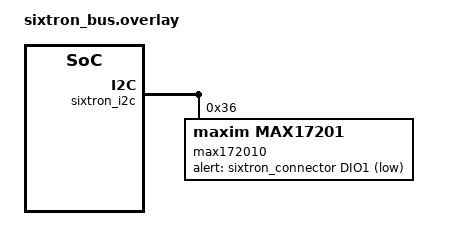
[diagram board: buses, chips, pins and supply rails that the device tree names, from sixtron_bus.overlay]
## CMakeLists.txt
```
# Copyright (c) 2024 CATIE
# SPDX-License-Identifier: Apache-2.0

cmake_minimum_required(VERSION 3.20.0)
find_package(Zephyr REQUIRED HINTS $ENV{ZEPHYR_BASE})
project(max17201)

FILE(GLOB app_sources src/main.c)
target_sources(app PRIVATE ${app_sources})
```

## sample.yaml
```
sample:
  name: MAX17201 fuel gauge sample
tests:
  sample.default:
    tags: fuel_gauge
    integration_platforms:
      - zest_core_stm32l4a6rg
    depends_on:
      - i2c
    extra_args: "DTC_OVERLAY_FILE=sixtron_bus.overlay"
```

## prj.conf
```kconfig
CONFIG_STDOUT_CONSOLE=y
CONFIG_FUEL_GAUGE=y

CONFIG_LOG=y
CONFIG_FUEL_GAUGE_LOG_LEVEL_INF=y
```

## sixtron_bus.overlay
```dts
/*
 * Copyright (c) 2024 CATIE
 *
 * SPDX-License-Identifier: Apache-2.0
 */

#include <zephyr/dt-bindings/gpio/sixtron-header.h>

&sixtron_i2c {
	status = "okay";

	max172010: max17201@36 {
		compatible = "maxim,max17201";
		reg = <0x36>;
		sbs = <0x0b>;
		nb-cell = <1>;
		rshunt = <20>;
		capacity = <800>;
		empty-voltage = <3050>;
		voltage-thresholds = <3600 4250>;
		current-thresholds = <(-800) 800>;
		temperature-thresholds = <2732 3181>;
		external-thermistor1;
		external-thermistor2;
		alert-gpios = <&sixtron_connector DIO1 (GPIO_ACTIVE_LOW | GPIO_OPEN_DRAIN)>;
	};
};
```

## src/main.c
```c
/*
 * Copyright (c) 2024, CATIE
 * SPDX-License-Identifier: Apache-2.0
 */

#include <zephyr/kernel.h>
#include <zephyr/device.h>
#include <zephyr/drivers/fuel_gauge.h>
#include <zephyr/drivers/gpio.h>

#include "max17201.h"

static const struct device *fg_dev = DEVICE_DT_GET(DT_NODELABEL(max172010));
static const struct gpio_dt_spec alert_gpio =
	GPIO_DT_SPEC_GET(DT_NODELABEL(max172010), alert_gpios);

struct gpio_callback gpio_cb;
struct k_work gpio_work;

struct k_work current_min_work;
struct k_work current_max_work;
struct k_work soc_percent_work;
struct k_work voltage_min_work;
struct k_work voltage_max_work;
struct k_work temp_min_work;
struct k_work temp_max_work;

static void current_min_worker(struct k_work *p_work)
{
	ARG_UNUSED(p_work);

	printk("ALERT: [I MIN]\n");
	return;
}

static void current_max_worker(struct k_work *p_work)
{
	ARG_UNUSED(p_work);

	printk("ALERT: [I MAX]\n");
	return;
}

static void soc_percent_worker(struct k_work *p_work)
{
	ARG_UNUSED(p_work);

	printk("IRQ: [SOC 1%%]\n");
	return;
}

static void voltage_min_worker(struct k_work *p_work)
{
	ARG_UNUSED(p_work);

	printk("ALERT: [V MIN]\n");
	return;
}

static void voltage_max_worker(struct k_work *p_work)
{
	ARG_UNUSED(p_work);

	printk("ALERT: [V MAX]\n");
	return;
}

static void temp_min_worker(struct k_work *p_work)
{
	ARG_UNUSED(p_work);

	printk("ALERT: [T MIN]\n");
	return;
}

static void temp_max_worker(struct k_work *p_work)
{
	ARG_UNUSED(p_work);

	printk("ALERT: [T MAX]\n");
	return;
}

static void gpio_worker(struct k_work *p_work)
{
	ARG_UNUSED(p_work);

	union fuel_gauge_prop_val value;
	int err;

	err = fuel_gauge_get_prop(fg_dev, FUEL_GAUGE_STATUS, &value);
	if (err < 0) {
		printk("IRQ GPIO worker read FLAGS error\n");
		return;
	}

	if (value.fg_status & MAX1720X_FLAGS_ALERT_CURR_MIN) {
		value.fg_status &= ~MAX1720X_FLAGS_ALERT_CURR_MIN;
		k_work_submit(&current_min_work);
	}
	if (value.fg_status & MAX1720X_FLAGS_ALERT_CURR_MAX) {
		value.fg_status &= ~MAX1720X_FLAGS_ALERT_CURR_MAX;
		k_work_submit(&current_max_work);
	}
	if (value.fg_status & MAX1720X_FLAGS_ALERT_SOC_PERCENT) {
		value.fg_status &= ~MAX1720X_FLAGS_ALERT_SOC_PERCENT;
		k_work_submit(&soc_percent_work);
	}
	if (value.fg_status & MAX1720X_FLAGS_ALERT_VOLT_MIN) {
		value.fg_status &= ~MAX1720X_FLAGS_ALERT_VOLT_MIN;
		k_work_submit(&voltage_min_work);
	}
	if (value.fg_status & MAX1720X_FLAGS_ALERT_VOLT_MAX) {
		value.fg_status &= ~MAX1720X_FLAGS_ALERT_VOLT_MAX;
		k_work_submit(&voltage_max_work);
	}
	if (value.fg_status & MAX1720X_FLAGS_ALERT_TEMP_MIN) {
		value.fg_status &= ~MAX1720X_FLAGS_ALERT_TEMP_MIN;
		k_work_submit(&temp_min_work);
	}
	if (value.fg_status & MAX1720X_FLAGS_ALERT_TEMP_MAX) {
		value.fg_status &= ~MAX1720X_FLAGS_ALERT_TEMP_MAX;
		k_work_submit(&temp_max_work);
	}

	err = fuel_gauge_set_prop(fg_dev, FUEL_GAUGE_STATUS, value);
	if (err < 0) {
		printk("Alert GPIO worker read FLAGS error\n");
		return;
	}
}

static void gpio_callback_handler(const struct device *p_port, struct gpio_callback *p_cb,
				  gpio_port_pins_t pins)
{
	ARG_UNUSED(p_port);
	ARG_UNUSED(p_cb);
	ARG_UNUSED(pins);

	k_work_submit(&gpio_work); /* Using work queue to exit isr context */
}

int main(void)
{
	union fuel_gauge_prop_val value;
	int err;

	if (!device_is_ready(fg_dev)) {
		printk("Device %s is not ready\n", fg_dev->name);
		return 1;
	}

	if (!gpio_is_ready_dt(&alert_gpio)) {
		printk("GPIO not ready!!");
		return -ENODEV;
	}

	printk("GPIO configure\n");
	err = gpio_pin_configure_dt(&alert_gpio, GPIO_INPUT);
	if (err < 0) {
		printk("Failed to configure GPIO!!");
		return err;
	}

	err = gpio_pin_interrupt_configure_dt(&alert_gpio, GPIO_INT_EDGE_FALLING);
	if (err < 0) {
		printk("Failed to configure interrupt!!");
		return err;
	}

	gpio_init_callback(&gpio_cb, gpio_callback_handler, BIT(alert_gpio.pin));

	err = gpio_add_callback_dt(&alert_gpio, &gpio_cb);
	if (err < 0) {
		printk("Failed to add GPIO callback!!");
		return err;
	}

	gpio_work.handler = gpio_worker;
	current_min_work.handler = current_min_worker;
	current_max_work.handler = current_max_worker;
	soc_percent_work.handler = soc_percent_worker;
	voltage_min_work.handler = voltage_min_worker;
	voltage_max_work.handler = voltage_max_worker;
	temp_min_work.handler = temp_min_worker;
	temp_max_work.handler = temp_max_worker;

	/* Setup alert for State Of Charge thresholds value (0xFF00 = no thresholds)*/
	value.flags = 0xFF00U; /* [Mx(8 bits) | Mn(8 bits)]  with 1% LSB resolution */
	err = fuel_gauge_set_prop(fg_dev, MAX1720X_FUEL_GAUGE_SOC_THRESHOLDS, value);
	if (err < 0) {
		return err;
	}

	/* Enable Alert irq */
	value.flags = MAX1720X_ALERT_ENABLE_THRESHOLDS | MAX1720X_ALERT_ENABLE_SOC_PERCENT;
	err = fuel_gauge_set_prop(fg_dev, MAX1720X_FUEL_GAUGE_ALERT_ENABLE, value);
	if (err < 0) {
		return err;
	}

	/* Clear Alert Flags */
	value.flags = 0x0000U;
	err = fuel_gauge_set_prop(fg_dev, FUEL_GAUGE_STATUS, value);
	if (err < 0) {
		return err;
	}

	while (1) {
		/* Example for fuel gauge driver */
		printk("----------------\n");
		err = fuel_gauge_get_prop(fg_dev, FUEL_GAUGE_AVG_CURRENT_UA, &value);
		if (err < 0) {
			return err;
		}
		printk("Avg Current: %d uA\n", value.avg_current_ua);
		err = fuel_gauge_get_prop(fg_dev, FUEL_GAUGE_CURRENT_UA, &value);
		if (err < 0) {
			return err;
		}
		printk("Current: %d uA\n", value.current_ua);
		err = fuel_gauge_get_prop(fg_dev, FUEL_GAUGE_CYCLE_COUNT, &value);
		if (err < 0) {
			return err;
		}
		printk("Cycles: %d%%\n", value.cycle_count);
		err = fuel_gauge_get_prop(fg_dev, FUEL_GAUGE_FLAGS, &value);
		if (err < 0) {
			return err;
		}
		printk("FLAGS: 0x%08X\n", value.flags);
		err = fuel_gauge_get_prop(fg_dev, FUEL_GAUGE_FULL_CHARGE_CAPACITY_UAH, &value);
		if (err < 0) {
			return err;
		}
		printk("Full Charge Cap: %d uAh\n", value.full_charge_capacity_uah);
		err = fuel_gauge_get_prop(fg_dev, FUEL_GAUGE_PRESENT_STATE, &value);
		if (err < 0) {
			return err;
		}
		printk("Battery present: %d\n", value.fg_status);
		err = fuel_gauge_get_prop(fg_dev, FUEL_GAUGE_REMAINING_CAPACITY_UAH, &value);
		if (err < 0) {
			return err;
		}
		printk("Remaining Cap: %d uAh\n", value.remaining_capacity_uah);
		err = fuel_gauge_get_prop(fg_dev, FUEL_GAUGE_RUNTIME_TO_EMPTY_MINS, &value);
		if (err < 0) {
			return err;
		}
		printk("TTE: %d minutes\n", value.runtime_to_empty_mins);
		err = fuel_gauge_get_prop(fg_dev, FUEL_GAUGE_RUNTIME_TO_FULL_MINS, &value);
		if (err < 0) {
			return err;
		}
		printk("TTF: %d minutes\n", value.runtime_to_full_mins);
		err = fuel_gauge_get_prop(fg_dev, FUEL_GAUGE_ABSOLUTE_STATE_OF_CHARGE_PCT, &value);
		if (err < 0) {
			return err;
		}
		printk("Abs SOC: %d%%\n", value.absolute_state_of_charge_pct);
		err = fuel_gauge_get_prop(fg_dev, FUEL_GAUGE_RELATIVE_STATE_OF_CHARGE_PCT, &value);
		if (err < 0) {
			return err;
		}
		printk("Rel SOC: %d%%\n", value.relative_state_of_charge_pct);
		err = fuel_gauge_get_prop(fg_dev, FUEL_GAUGE_TEMPERATURE_DK, &value);
		if (err < 0) {
			return err;
		}
		printk("Temp: %d 0.1K\n", value.temperature_dk);
		err = fuel_gauge_get_prop(fg_dev, FUEL_GAUGE_VOLTAGE_UV, &value);
		if (err < 0) {
			return err;
		}
		printk("Voltage: %d uV\n", value.voltage_uv);
		err = fuel_gauge_get_prop(fg_dev, FUEL_GAUGE_STATUS, &value);
		if (err < 0) {
			return err;
		}
		printk("STATUS: 0x%04X\n", value.fg_status);
		err = fuel_gauge_get_prop(fg_dev, FUEL_GAUGE_DESIGN_CAPACITY, &value);
		if (err < 0) {
			return err;
		}
		printk("DesignCap: %d mAh\n", value.design_cap);

		k_sleep(K_MSEC(100));
	}
}
```
